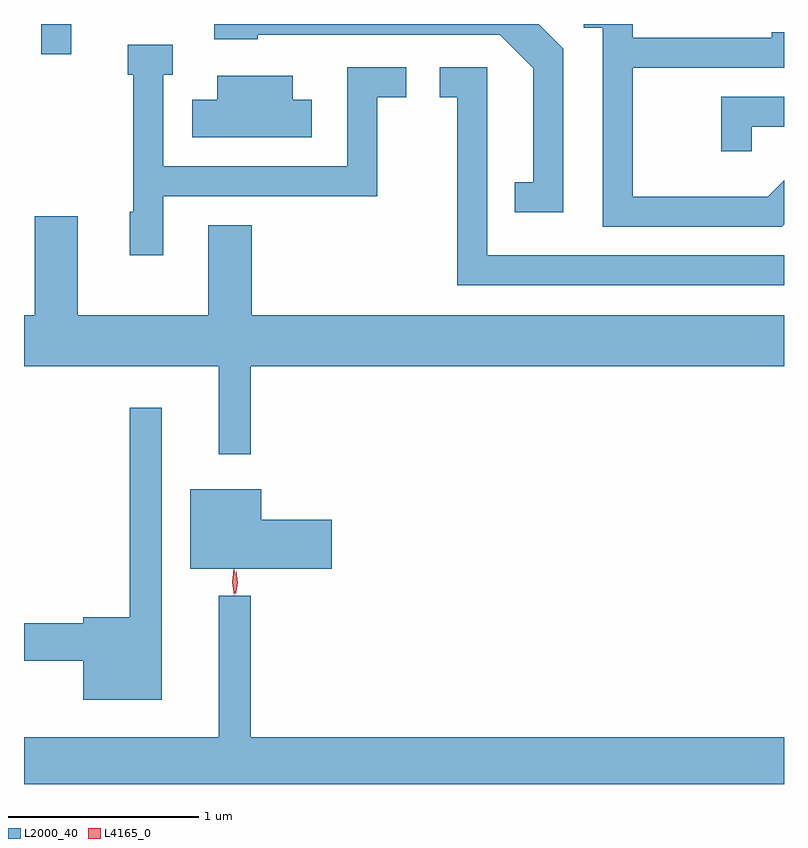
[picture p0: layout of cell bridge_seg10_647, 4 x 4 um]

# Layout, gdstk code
import gdstk
lib = gdstk.Library(unit=1e-6, precision=1e-09)
def R(c, l, rs):  # rectangles x0, y0, x1, y1
    for r in rs: c.add(gdstk.rectangle(r[:2], r[2:], *l))
def P(c, l, *ps):  # polygons
    for p in ps: c.add(gdstk.Polygon(p, *l))
L2000_40 = (2000, 40)
L4165_0 = (4165, 0)

bridge_seg10_647 = lib.new_cell('bridge_seg10_647')
R(bridge_seg10_647, L2000_40, [(919.186,2117.778,919.344,2117.937)])
P(bridge_seg10_647, L2000_40, [(923.095,2116.884),(923.095,2117.115),(923.009,2117.029),(922.299,2117.029),(922.299,2117.706),(923.095,2117.706),(923.095,2117.894),(923.031,2117.894),(923.031,2117.864),(922.299,2117.864),(922.299,2117.937),(922.041,2117.937),(922.041,2117.916),(922.141,2117.916),(922.141,2116.871),(923.082,2116.871)],
  [(921.934,2117.807),(921.804,2117.937),(920.096,2117.937),(920.096,2117.856),(920.324,2117.856),(920.324,2117.881),(921.599,2117.881),(921.776,2117.704),(921.776,2117.104),(921.678,2117.104),(921.678,2116.946),(921.934,2116.946)],
  [(919.829,2117.031),(920.954,2117.031),(920.954,2117.551),(921.108,2117.551),(921.108,2117.709),(920.796,2117.709),(920.796,2117.189),(919.829,2117.189),(919.829,2117.671),(919.878,2117.671),(919.878,2117.829),(919.641,2117.829),(919.641,2117.671),(919.671,2117.671),(919.671,2116.949),(919.651,2116.949),(919.651,2116.721),(919.829,2116.721)],
  [(923.095,2116.719),(921.534,2116.719),(921.534,2117.709),(921.283,2117.709),(921.283,2117.551),(921.376,2117.551),(921.376,2116.561),(923.095,2116.561)],
  [(920.609,2117.539),(920.509,2117.539),(920.509,2117.664),(920.111,2117.664),(920.111,2117.539),(919.981,2117.539),(919.981,2117.341),(920.609,2117.341)],
  [(922.924,2117.396),(923.095,2117.396),(923.095,2117.554),(922.766,2117.554),(922.766,2117.268),(922.924,2117.268)],
  [(920.289,2116.136),(923.095,2116.136),(923.095,2116.404),(920.294,2116.404),(920.294,2116.879),(920.066,2116.879),(920.066,2116.404),(919.379,2116.404),(919.379,2116.924),(919.151,2116.924),(919.151,2116.404),(919.095,2116.404),(919.095,2116.136),(920.121,2116.136),(920.121,2115.673),(920.289,2115.673)],
  [(919.819,2115.918),(919.651,2115.918),(919.651,2114.814),(919.406,2114.814),(919.406,2114.784),(919.095,2114.784),(919.095,2114.586),(919.406,2114.586),(919.406,2114.381),(919.819,2114.381)],
  [(920.714,2115.329),(920.344,2115.329),(920.344,2115.489),(919.971,2115.489),(919.971,2115.071),(920.714,2115.071)],
  [(923.095,2114.184),(920.289,2114.184),(920.289,2114.928),(920.121,2114.928),(920.121,2114.184),(919.095,2114.184),(919.095,2113.937),(923.095,2113.937)])
P(bridge_seg10_647, L4165_0, [(920.21,2114.933),(920.209,2114.934),(920.201,2114.996),(920.211,2115.059),(920.211,2115.06),(920.212,2115.059),(920.22,2114.996),(920.21,2114.934)],
  [(920.201,2114.93),(920.191,2114.998),(920.2,2115.066),(920.201,2115.066),(920.201,2115.066),(920.211,2114.998),(920.202,2114.93),(920.202,2114.93)])

lib.write_gds('bridge_seg10_647.gds')
